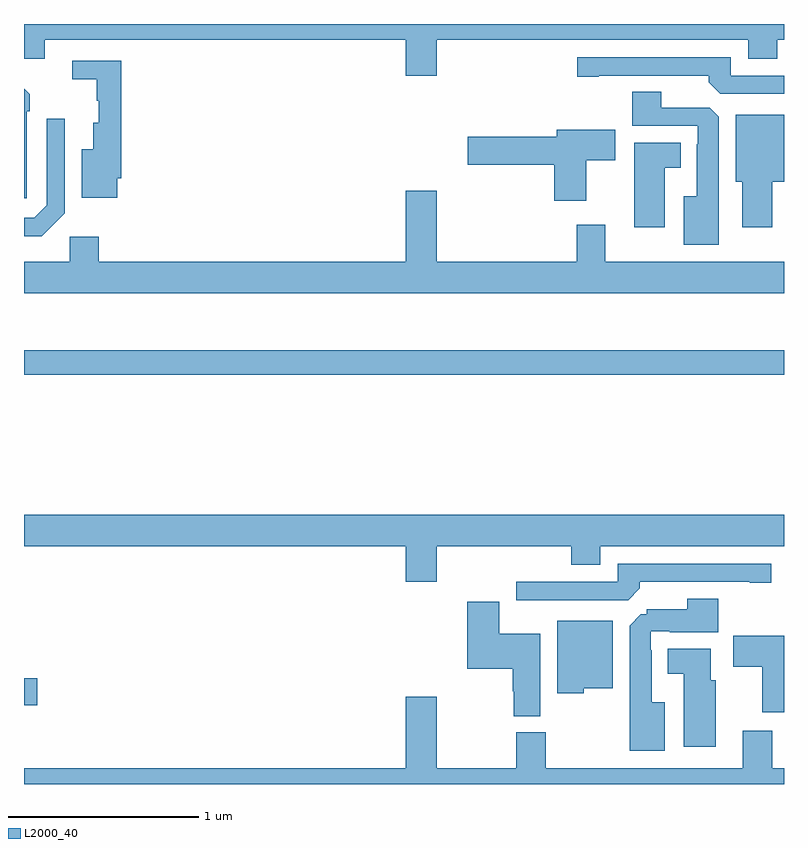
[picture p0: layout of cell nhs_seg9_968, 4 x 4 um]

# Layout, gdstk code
import gdstk
lib = gdstk.Library(unit=1e-6, precision=1e-09)
def R(c, l, rs):  # rectangles x0, y0, x1, y1
    for r in rs: c.add(gdstk.rectangle(r[:2], r[2:], *l))
def P(c, l, *ps):  # polygons
    for p in ps: c.add(gdstk.Polygon(p, *l))
L2000_40 = (2000, 40)

nhs_seg9_968 = lib.new_cell('nhs_seg9_968')
R(nhs_seg9_968, L2000_40, [(163,1196.914,163.069,1197.056), (163,1198.654,167,1198.783)])
P(nhs_seg9_968, L2000_40, [(165.172,1200.416),(166.811,1200.416),(166.811,1200.317),(166.964,1200.317),(166.964,1200.416),(167,1200.416),(167,1200.5),(163,1200.5),(163,1200.318),(163.108,1200.318),(163.108,1200.416),(165.008,1200.416),(165.008,1200.228),(165.172,1200.228)],
  [(167,1200.228),(166.719,1200.228),(166.719,1200.324),(165.912,1200.324),(165.912,1200.223),(166.024,1200.223),(166.024,1200.228),(166.604,1200.228),(166.604,1200.194),(166.665,1200.132),(167,1200.132)],
  [(163.492,1199.689),(163.511,1199.689),(163.511,1200.306),(163.254,1200.306),(163.254,1200.208),(163.383,1200.208),(163.383,1200.095),(163.394,1200.095),(163.394,1199.98),(163.364,1199.98),(163.364,1199.842),(163.304,1199.842),(163.304,1199.585),(163.492,1199.585)],
  [(163.014,1200.041),(163.029,1200.041),(163.029,1200.129),(163,1200.158),(163,1199.583),(163.014,1199.583)],
  [(166.657,1200.011),(166.608,1200.06),(166.354,1200.06),(166.354,1200.143),(166.202,1200.143),(166.202,1199.964),(166.545,1199.964),(166.545,1199.867),(166.541,1199.867),(166.541,1199.593),(166.472,1199.593),(166.472,1199.339),(166.657,1199.339)],
  [(166.939,1199.669),(167,1199.669),(167,1200.022),(166.745,1200.022),(166.745,1199.669),(166.781,1199.669),(166.781,1199.43),(166.939,1199.43)],
  [(163.215,1199.505),(163.215,1200.001),(163.119,1200.001),(163.119,1199.547),(163.053,1199.481),(163,1199.481),(163,1199.384),(163.094,1199.384)],
  [(165.958,1199.782),(166.111,1199.782),(166.111,1199.944),(165.803,1199.944),(165.803,1199.906),(165.336,1199.906),(165.336,1199.759),(165.791,1199.759),(165.791,1199.571),(165.958,1199.571)],
  [(166.372,1199.744),(166.456,1199.744),(166.456,1199.875),(166.211,1199.875),(166.211,1199.43),(166.372,1199.43)],
  [(167,1199.248),(166.06,1199.248),(166.06,1199.443),(165.908,1199.443),(165.908,1199.248),(165.172,1199.248),(165.172,1199.623),(165.008,1199.623),(165.008,1199.248),(163.394,1199.248),(163.394,1199.38),(163.242,1199.38),(163.242,1199.248),(163,1199.248),(163,1199.084),(167,1199.084)],
  [(165.172,1197.752),(165.881,1197.752),(165.881,1197.653),(166.033,1197.653),(166.033,1197.752),(167,1197.752),(167,1197.916),(163,1197.916),(163,1197.752),(165.008,1197.752),(165.008,1197.564),(165.172,1197.564)],
  [(166.241,1197.53),(166.241,1197.564),(166.82,1197.564),(166.82,1197.559),(166.933,1197.559),(166.933,1197.66),(166.125,1197.66),(166.125,1197.564),(165.591,1197.564),(165.591,1197.468),(166.179,1197.468)],
  [(166.372,1196.929),(166.303,1196.929),(166.303,1197.203),(166.299,1197.203),(166.299,1197.303),(166.399,1197.303),(166.399,1197.299),(166.654,1197.299),(166.654,1197.475),(166.49,1197.475),(166.49,1197.421),(166.278,1197.421),(166.278,1197.393),(166.247,1197.393),(166.187,1197.333),(166.187,1196.675),(166.372,1196.675)],
  [(165.718,1197.292),(165.502,1197.292),(165.502,1197.46),(165.332,1197.46),(165.332,1197.107),(165.572,1197.107),(165.572,1196.987),(165.577,1196.987),(165.577,1196.857),(165.718,1196.857)],
  [(165.945,1197.005),(166.099,1197.005),(166.099,1197.358),(165.806,1197.358),(165.806,1196.978),(165.945,1196.978)],
  [(167,1197.28),(166.734,1197.28),(166.734,1197.118),(166.886,1197.118),(166.886,1196.878),(167,1196.878)],
  [(166.642,1197.045),(166.615,1197.045),(166.615,1197.211),(166.388,1197.211),(166.388,1197.08),(166.472,1197.08),(166.472,1196.697),(166.642,1196.697)],
  [(167,1196.584),(166.937,1196.584),(166.937,1196.779),(166.784,1196.779),(166.784,1196.584),(165.747,1196.584),(165.747,1196.772),(165.592,1196.772),(165.592,1196.584),(165.172,1196.584),(165.172,1196.959),(165.008,1196.959),(165.008,1196.584),(163,1196.584),(163,1196.5),(167,1196.5)])

lib.write_gds('nhs_seg9_968.gds')
